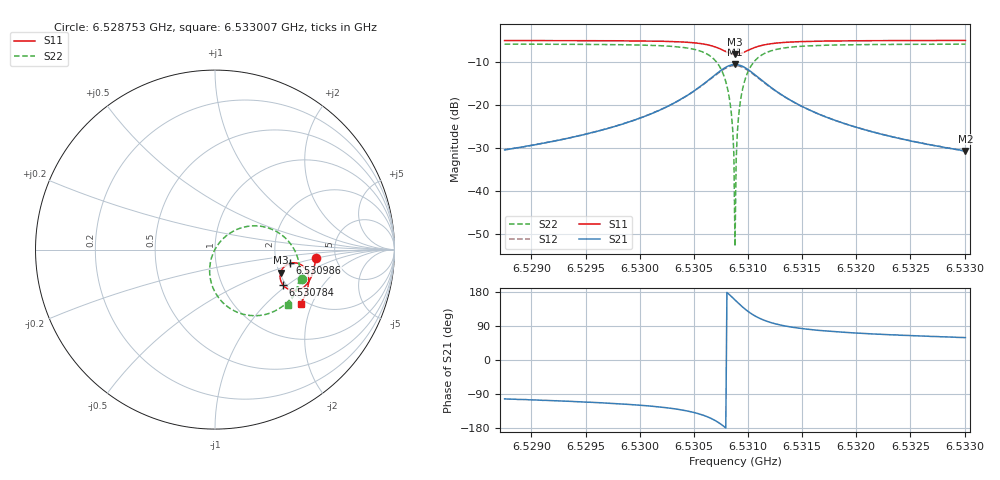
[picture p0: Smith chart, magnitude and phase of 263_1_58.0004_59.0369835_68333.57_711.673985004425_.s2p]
#  HZ  S  RI  R  50.00
! Rohde & Schwarz Vector Network Analyzer
! Rohde-Schwarz,ZNB20-2Port,1311601062101988,3.16
! Created: UTC 3/21/2024, 1:02:03 AM
! freq[Hz]  re:S11  im:S11  re:S21  im:S21  re:S12  im:S12  re:S22  im:S22
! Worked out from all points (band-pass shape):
!   401 points, 6.528753 GHz to 6.533007 GHz, reference 50 ohm
!   highest |S21| = -10.56 dB at 6.53088 GHz (marker M1); lowest = -30.7 dB at 6.533007 GHz (marker M2)
!   |S21| within 3 dB of the highest: 6.530668 GHz to 6.531093 GHz (425.7 kHz wide, 0.00652 % of centre)
!   lowest |S11| = -8.2 dB at 6.53088 GHz (marker M3), VSWR 2.27, Z = 101 - j30.7 ohm
!   |S11| at or under -10 dB: nowhere
!   |S22| runs from -52.8 to -5.8 dB; largest |S21 - S12| = 0.012
!   S11 on the Smith chart (normalised r, x): 6.528753 GHz: 3.50, -0.48; 6.530784 GHz: 1.92, -0.92; 6.530986 GHz: 2.38, -0.44; 6.533007 GHz: 1.87, -1.65
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6.5287528e9  0.5601 -0.0467  -0.00659 -0.0294  -0.00728 -0.0292  0.4841 -0.1642
6.5294654e9  0.5511 -0.1058  -0.0157 -0.0418  -0.0166 -0.0415  0.4535 -0.2284
6.530178e9  0.5242 -0.176  -0.0481 -0.0718  -0.0502 -0.0707  0.374 -0.3178
6.5306034e9  0.4556 -0.2262  -0.1525 -0.0974  -0.1549 -0.0912  0.1737 -0.364
6.5307098e9  0.4118 -0.2219  -0.22 -0.072  -0.2195 -0.0628  0.0601 -0.3102
6.5307842e9  0.3777 -0.1959  -0.2696 -0.0153  -0.2644 -0.00591  -0.0139 -0.2065
6.5308161e9  0.3673 -0.1766  -0.2829 0.0218  -0.2751 0.0305  -0.0289 -0.1423
6.5308374e9  0.3634 -0.1613  -0.2861 0.0502  -0.277 0.0573  -0.029 -0.0954
6.5308481e9  0.3625 -0.1533  -0.2858 0.0648  -0.2762 0.0712  -0.0256 -0.0715
6.5308587e9  0.3627 -0.1451  -0.2839 0.0796  -0.2741 0.0851  -0.0201 -0.0476
6.5308693e9  0.3637 -0.1369  -0.2806 0.0943  -0.2705 0.0989  -0.0119 -0.0243
6.53088e9  0.3655 -0.1288  -0.2759 0.1086  -0.2655 0.1124  -0.00148 -0.00174
6.5308906e9  0.3683 -0.121  -0.2697 0.1226  -0.2592 0.1252  0.011 0.0197
6.5309012e9  0.3718 -0.1134  -0.2621 0.1356  -0.2519 0.1373  0.0257 0.0395
6.5309119e9  0.376 -0.1066  -0.2534 0.1477  -0.2434 0.1486  0.0418 0.0579
6.5309331e9  0.3865 -0.0943  -0.2334 0.1687  -0.2239 0.1682  0.0786 0.0886
6.5309863e9  0.4184 -0.0764  -0.1751 0.1999  -0.1685 0.1972  0.18 0.1291
6.5310608e9  0.46 -0.0762  -0.1024 0.2021  -0.0988 0.1992  0.3019 0.1188
6.5311671e9  0.4963 -0.0979  -0.0397 0.1725  -0.0379 0.1709  0.4029 0.0536
6.5315926e9  0.5223 -0.1766  0.0148 0.0835  0.016 0.0831  0.4719 -0.1332
6.5323051e9  0.5036 -0.2487  0.0172 0.0399  0.0179 0.0398  0.4429 -0.2475
6.5330071e9  0.477 -0.3009  0.015 0.0251  0.0156 0.0248  0.4075 -0.3076
